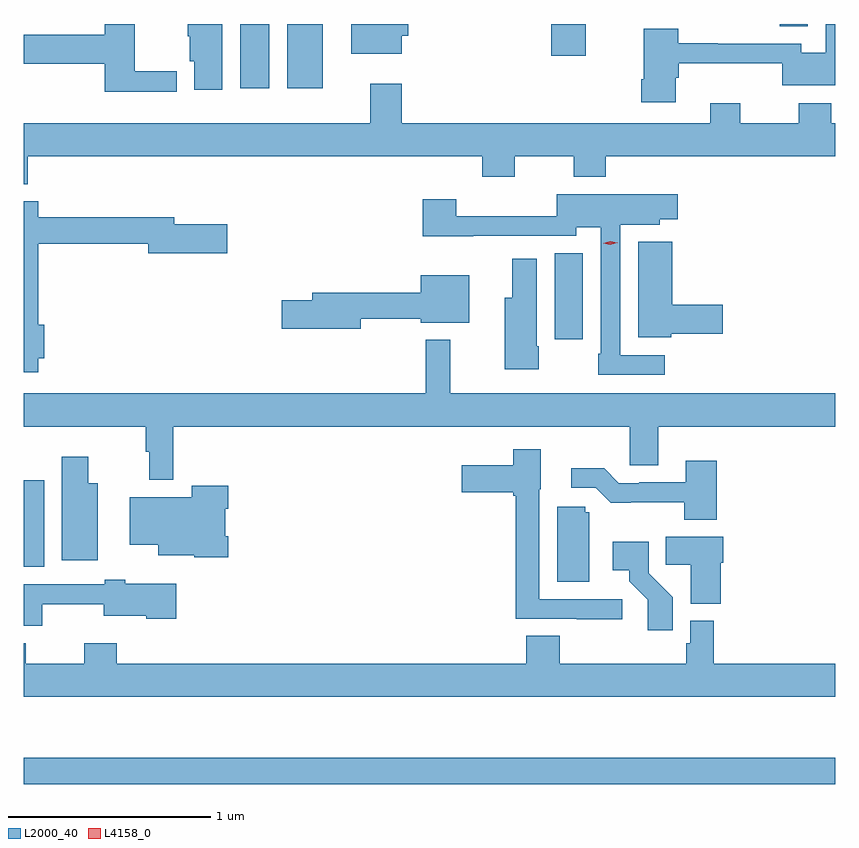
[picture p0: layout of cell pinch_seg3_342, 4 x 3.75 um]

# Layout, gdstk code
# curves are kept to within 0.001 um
import gdstk
lib = gdstk.Library(unit=1e-6, precision=1e-09)
def R(c, l, rs):  # rectangles x0, y0, x1, y1
    for r in rs: c.add(gdstk.rectangle(r[:2], r[2:], *l))
def P(c, l, *ps):  # polygons
    for p in ps: c.add(gdstk.Polygon(p, *l))
L2000_40 = (2000, 40)
L4158_0 = (4158, 0)

pinch_seg3_342 = lib.new_cell('pinch_seg3_342')
R(pinch_seg3_342, L2000_40, [(982.578,717.802,986.578,717.931), (982.578,718.873,982.678,719.299), (985.196,719.994,985.333,720.419), (983.645,721.232,983.788,721.549), (983.876,721.232,984.052,721.549), (985.178,721.392,985.348,721.549), (986.306,721.537,986.443,721.549)])
P(pinch_seg3_342, L2000_40, [(983.332,721.316),(983.126,721.316),(983.126,721.549),(982.976,721.549),(982.976,721.496),(982.578,721.496),(982.578,721.354),(982.976,721.354),(982.976,721.214),(983.332,721.214)],
  [(985.792,721.284),(985.807,721.284),(985.807,721.355),(986.316,721.355),(986.316,721.247),(986.578,721.247),(986.578,721.549),(986.532,721.549),(986.532,721.408),(986.412,721.408),(986.412,721.452),(986,721.452),(986,721.454),(985.805,721.454),(985.805,721.525),(985.634,721.525),(985.634,721.276),(985.622,721.276),(985.622,721.164),(985.792,721.164)],
  [(984.442,721.491),(984.473,721.491),(984.473,721.549),(984.191,721.549),(984.191,721.403),(984.442,721.403)],
  [(983.557,721.549),(983.387,721.549),(983.387,721.488),(983.396,721.488),(983.396,721.365),(983.417,721.365),(983.417,721.224),(983.557,721.224)],
  [(982.598,720.896),(984.839,720.896),(984.839,720.797),(984.999,720.797),(984.999,720.896),(985.288,720.896),(985.288,720.797),(985.448,720.797),(985.448,720.896),(986.578,720.896),(986.578,721.06),(986.558,721.06),(986.558,721.159),(986.398,721.159),(986.398,721.06),(986.109,721.06),(986.109,721.159),(985.961,721.159),(985.961,721.06),(984.44,721.06),(984.44,721.255),(984.287,721.255),(984.287,721.06),(982.578,721.06),(982.578,720.76),(982.598,720.76)],
  [(985.738,719.916),(985.518,719.916),(985.518,720.56),(985.713,720.56),(985.713,720.587),(985.801,720.587),(985.801,720.709),(985.206,720.709),(985.206,720.602),(984.71,720.602),(984.71,720.685),(984.545,720.685),(984.545,720.503),(984.793,720.503),(984.793,720.504),(985.302,720.504),(985.302,720.548),(985.422,720.548),(985.422,719.923),(985.41,719.923),(985.41,719.82),(985.738,719.82)],
  [(982.649,719.9),(982.679,719.9),(982.679,720.066),(982.649,720.066),(982.649,720.466),(983.192,720.466),(983.192,720.419),(983.581,720.419),(983.581,720.561),(983.32,720.561),(983.32,720.595),(982.649,720.595),(982.649,720.675),(982.578,720.675),(982.578,719.832),(982.649,719.832)],
  [(985.77,720.022),(986.023,720.022),(986.023,720.164),(985.774,720.164),(985.774,720.475),(985.607,720.475),(985.607,720.005),(985.77,720.005)],
  [(985.116,719.959),(985.108,719.959),(985.108,720.391),(984.986,720.391),(984.986,720.199),(984.95,720.199),(984.95,719.847),(985.116,719.847)],
  [(984.238,720.096),(984.536,720.096),(984.536,720.077),(984.775,720.077),(984.775,720.31),(984.536,720.31),(984.536,720.224),(983.999,720.224),(983.999,720.188),(983.85,720.188),(983.85,720.046),(984.238,720.046)],
  [(983.315,719.564),(985.566,719.564),(985.566,719.374),(985.705,719.374),(985.705,719.564),(986.578,719.564),(986.578,719.728),(984.68,719.728),(984.68,719.992),(984.559,719.992),(984.559,719.728),(982.578,719.728),(982.578,719.564),(983.179,719.564),(983.179,719.441),(983.197,719.441),(983.197,719.301),(983.315,719.301)],
  [(985.528,718.713),(985.119,718.713),(985.119,719.256),(985.126,719.256),(985.126,719.452),(984.99,719.452),(984.99,719.374),(984.738,719.374),(984.738,719.24),(984.99,719.24),(984.99,719.222),(985.003,719.222),(985.003,718.617),(985.303,718.617),(985.303,718.615),(985.528,718.615)],
  [(982.942,719.284),(982.896,719.284),(982.896,719.416),(982.766,719.416),(982.766,718.904),(982.942,718.904)],
  [(985.994,719.395),(985.841,719.395),(985.841,719.289),(985.612,719.289),(985.612,719.286),(985.512,719.286),(985.439,719.359),(985.278,719.359),(985.278,719.262),(985.398,719.262),(985.471,719.189),(985.834,719.19),(985.834,719.105),(985.994,719.105)],
  [(983.585,719.023),(983.572,719.023),(983.572,719.159),(983.585,719.159),(983.585,719.272),(983.407,719.272),(983.407,719.215),(983.099,719.215),(983.099,718.982),(983.24,718.982),(983.24,718.931),(983.418,718.931),(983.418,718.919),(983.585,718.919)],
  [(985.366,719.142),(985.347,719.142),(985.347,719.169),(985.208,719.169),(985.208,718.798),(985.366,718.798)],
  [(986.015,718.893),(986.027,718.893),(986.027,719.02),(985.744,719.02),(985.744,718.882),(985.865,718.882),(985.865,718.691),(986.015,718.691)],
  [(985.778,718.722),(985.659,718.841),(985.659,718.996),(985.482,718.996),(985.482,718.856),(985.562,718.856),(985.562,718.801),(985.653,718.711),(985.653,718.56),(985.778,718.56)],
  [(982.668,718.687),(982.973,718.687),(982.973,718.631),(983.181,718.631),(983.181,718.616),(983.33,718.616),(983.33,718.789),(983.077,718.789),(983.077,718.808),(982.977,718.808),(982.977,718.788),(982.578,718.788),(982.578,718.583),(982.668,718.583)],
  [(986.578,718.396),(985.979,718.396),(985.979,718.606),(985.863,718.606),(985.863,718.497),(985.843,718.497),(985.843,718.396),(985.22,718.396),(985.22,718.532),(985.055,718.532),(985.055,718.396),(983.036,718.396),(983.036,718.495),(982.876,718.495),(982.876,718.396),(982.587,718.396),(982.587,718.495),(982.578,718.495),(982.578,718.232),(986.578,718.232)])
P(pinch_seg3_342, L4158_0, [(985.47,720.46),(985.435,720.468),(985.435,720.468),(985.435,720.469),(985.469,720.479),(985.504,720.471),(985.505,720.47),(985.504,720.47)])

lib.write_gds('pinch_seg3_342.gds')
